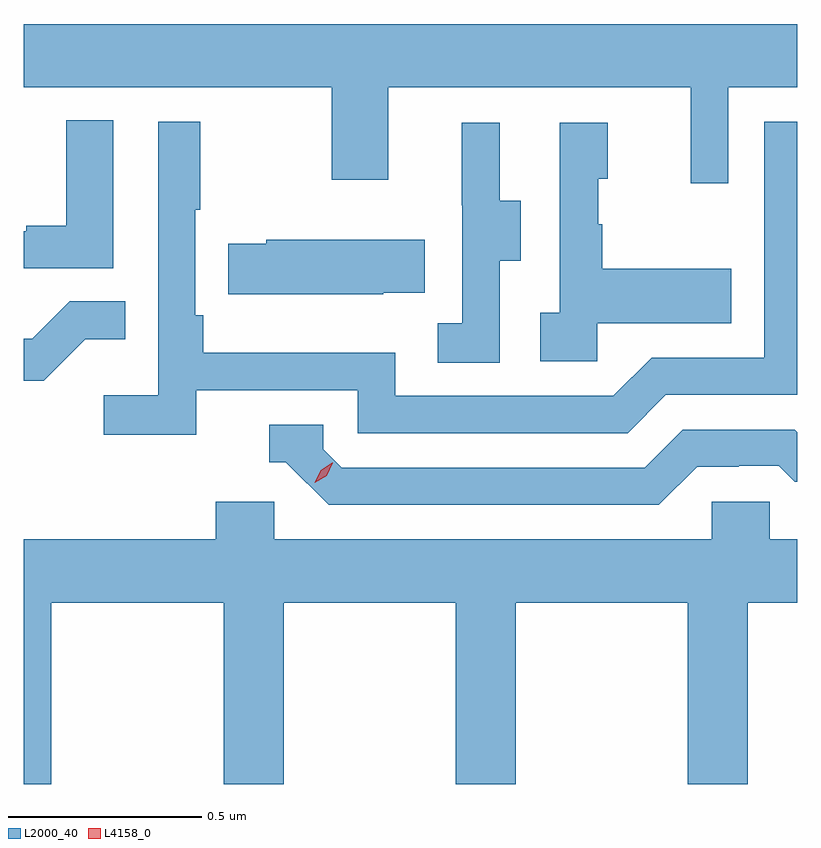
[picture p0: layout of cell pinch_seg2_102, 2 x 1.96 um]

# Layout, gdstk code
import gdstk
lib = gdstk.Library(unit=1e-6, precision=1e-09)
def P(c, l, *ps):  # polygons
    for p in ps: c.add(gdstk.Polygon(p, *l))
L2000_40 = (2000, 40)
L4158_0 = (4158, 0)

pinch_seg2_102 = lib.new_cell('pinch_seg2_102')
P(pinch_seg2_102, L2000_40, [(1022.439,643.64),(1022.618,643.64),(1022.618,643.804),(1020.618,643.804),(1020.618,643.64),(1021.414,643.64),(1021.414,643.401),(1021.561,643.401),(1021.561,643.64),(1022.342,643.64),(1022.342,643.392),(1022.439,643.392)],
  [(1020.85,643.555),(1020.728,643.555),(1020.728,643.282),(1020.625,643.282),(1020.625,643.269),(1020.618,643.269),(1020.618,643.173),(1020.85,643.173)],
  [(1021.064,642.858),(1021.482,642.858),(1021.482,642.747),(1022.179,642.747),(1022.278,642.846),(1022.618,642.846),(1022.618,643.551),(1022.532,643.551),(1022.532,642.942),(1022.241,642.942),(1022.142,642.843),(1021.578,642.843),(1021.578,642.955),(1021.082,642.955),(1021.082,643.051),(1021.062,643.051),(1021.062,643.324),(1021.075,643.324),(1021.075,643.552),(1020.966,643.552),(1020.966,642.844),(1020.825,642.844),(1020.825,642.742),(1021.064,642.742)],
  [(1021.848,643.192),(1021.903,643.192),(1021.903,643.347),(1021.849,643.347),(1021.849,643.549),(1021.751,643.549),(1021.751,643.335),(1021.752,643.335),(1021.752,643.031),(1021.689,643.031),(1021.689,642.928),(1021.848,642.928)],
  [(1022.1,643.031),(1022.447,643.031),(1022.447,643.171),(1022.113,643.171),(1022.113,643.286),(1022.103,643.286),(1022.103,643.404),(1022.128,643.404),(1022.128,643.549),(1022.004,643.549),(1022.004,643.058),(1021.953,643.058),(1021.953,642.933),(1022.1,642.933)],
  [(1021.547,643.109),(1021.655,643.109),(1021.655,643.246),(1021.245,643.246),(1021.245,643.236),(1021.147,643.236),(1021.147,643.106),(1021.547,643.106)],
  [(1020.777,642.989),(1020.881,642.989),(1020.881,643.088),(1020.738,643.088),(1020.64,642.99),(1020.618,642.99),(1020.618,642.882),(1020.67,642.882)],
  [(1022.359,642.66),(1022.466,642.66),(1022.466,642.663),(1022.569,642.663),(1022.611,642.621),(1022.618,642.621),(1022.618,642.749),(1022.611,642.756),(1022.322,642.756),(1022.223,642.657),(1021.44,642.657),(1021.392,642.705),(1021.392,642.768),(1021.253,642.768),(1021.253,642.672),(1021.296,642.672),(1021.407,642.561),(1022.26,642.561)],
  [(1021.266,642.57),(1021.115,642.57),(1021.115,642.472),(1020.618,642.472),(1020.618,641.84),(1020.69,641.84),(1020.69,642.308),(1021.135,642.308),(1021.135,641.84),(1021.29,641.84),(1021.29,642.308),(1021.735,642.308),(1021.735,641.84),(1021.89,641.84),(1021.89,642.308),(1022.335,642.308),(1022.335,641.84),(1022.49,641.84),(1022.49,642.308),(1022.618,642.308),(1022.618,642.472),(1022.547,642.472),(1022.547,642.57),(1022.397,642.57),(1022.397,642.472),(1021.266,642.472)])
P(pinch_seg2_102, L4158_0, [(1021.371,642.618),(1021.371,642.618),(1021.386,642.651),(1021.416,642.67),(1021.417,642.67),(1021.417,642.67),(1021.401,642.637),(1021.371,642.618)])

lib.write_gds('pinch_seg2_102.gds')
